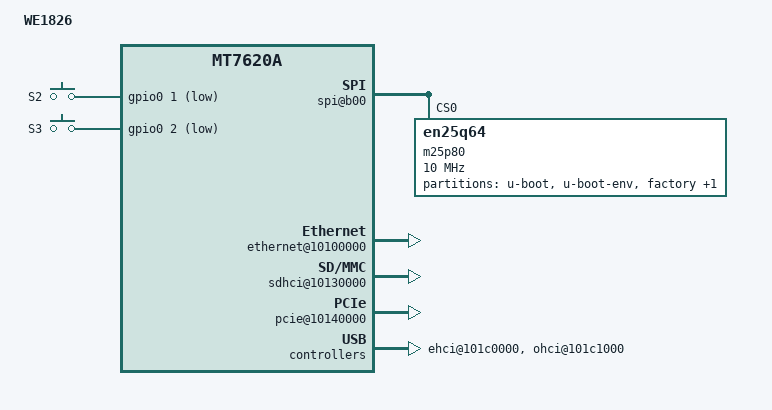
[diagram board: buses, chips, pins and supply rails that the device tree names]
/dts-v1/;

/include/ "mt7620a.dtsi"

/ {
	compatible = "ralink,mt7620a-eval-board", "ralink,mt7620a-soc";
	model = "WE1826";

	chosen {
		bootargs = "console=ttyS0,115200";
	};

	palmbus@10000000 {
		spi@b00 {
			status = "okay";

			m25p80@0 {
				#address-cells = <1>;
				#size-cells = <1>;
				compatible = "en25q64";
				reg = <0 0>;
				linux,modalias = "m25p80", "en25q64";
				spi-max-frequency = <10000000>;

				partition@0 {
					label = "u-boot";
					reg = <0x0 0x30000>;
					read-only;
				};

				partition@30000 {
					label = "u-boot-env";
					reg = <0x30000 0x10000>;
					read-only;
				};

				factory: partition@40000 {
					label = "factory";
					reg = <0x40000 0x10000>;
					read-only;
				};

				partition@50000 {
					label = "firmware";
					reg = <0x50000 0x7b0000>;
				};
			};
		};
	};
	pinctrl {
		state_default: pinctrl0 {
			gpio {
				ralink,group = "i2c", "uartf";
				ralink,function = "gpio";
			};

			wled {
                                ralink,group = "wled";
                                ralink,function = "wled";
                        };

		};
	};

	ethernet@10100000 {
		status = "okay";

		pinctrl-names = "default";
		pinctrl-0 = <&ephy_pins>;
		mtd-mac-address = <&factory 0x4>;
		ralink,port-map = "llllw";
	};

	sdhci@10130000 {
		status = "okay";
	};

	wmac@10180000 {
		ralink,mtd-eeprom = <&factory 0>;
	};

	pcie@10140000 {
		status = "okay";

		pcie-bridge {
			mt76@0,0 {
				reg = <0x0000 0 0 0 0>;
				device_type = "pci";
				mediatek,mtd-eeprom = <&factory 0x8000>;
				mediatek,2ghz = <0>;
			};
		};
	};

	pcie@10140000 {
		status = "okay";
	};

	gpio-keys-polled {
		compatible = "gpio-keys";
		#address-cells = <1>;
		#size-cells = <0>;
		poll-interval = <20>;
		s2 {
			label = "S2";
			gpios = <&gpio0 1 1>;
			linux,code = <0x100>;
		};
		s3 {
			label = "S3";
			gpios = <&gpio0 2 1>;
			linux,code = <0x101>;
		};
	};

	ehci@101c0000 {
		status = "okay";
	};

	ohci@101c1000 {
		status = "okay";
	};
};
